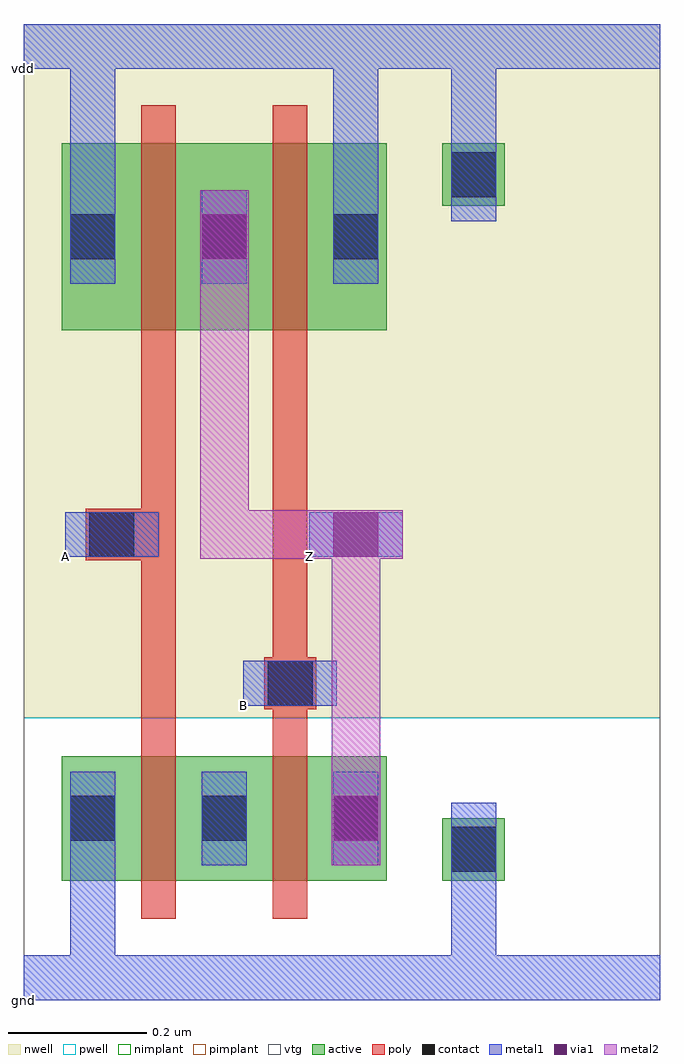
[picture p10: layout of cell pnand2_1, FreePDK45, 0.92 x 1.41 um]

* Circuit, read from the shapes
.subckt pnand2_1 A B Z gnd vdd
M1 nmos_m1_w0_18_a_p_2/D A gnd gnd nfet w=0.18u l=0.05u
M2 Z B nmos_m1_w0_18_a_p_2/D gnd nfet w=0.18u l=0.05u
M3 Z A vdd vdd pfet w=0.27u l=0.05u
M4 vdd B Z vdd pfet w=0.27u l=0.05u
.ends

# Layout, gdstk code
from math import pi, radians
import gdstk
lib = gdstk.Library(unit=1e-6, precision=5e-10)
def R(c, l, rs):  # rectangles x0, y0, x1, y1
    for r in rs: c.add(gdstk.rectangle(r[:2], r[2:], *l))
active = (1, 0)
pwell = (2, 0)
nwell = (3, 0)
nimplant = (4, 0)
pimplant = (5, 0)
vtg = (6, 0)
poly = (9, 0)
contact = (10, 0)
metal1 = (11, 0)
via1 = (12, 0)
metal2 = (13, 0)

active_contact_metal1_1x = lib.new_cell('active_contact_metal1_1x1_pn')
R(active_contact_metal1_1x, active, [(0,0.0225,0.09,0.1125), (0,0.0225,0.09,0.1125)])
R(active_contact_metal1_1x, nwell, [(-0.055,-0.0325,0.145,0.1675), (-0.055,-0.0325,0.145,0.1675)])
R(active_contact_metal1_1x, pimplant, [(0,0.0225,0.09,0.1125), (0,0.0225,0.09,0.1125)])
R(active_contact_metal1_1x, contact, [(0.0125,0.035,0.0775,0.1), (0.0125,0.035,0.0775,0.1)])
R(active_contact_metal1_1x, metal1, [(0.0125,0,0.0775,0.135), (0.0125,0,0.0775,0.135)])

pmos_m1_w0_27_a_p = lib.new_cell('pmos_m1_w0_27_a_p')
R(pmos_m1_w0_27_a_p, active, [(0,0,0.28,0.27), (0,0,0.28,0.27)])
R(pmos_m1_w0_27_a_p, nwell, [(-0.055,-0.055,0.335,0.325), (-0.055,-0.055,0.335,0.325)])
R(pmos_m1_w0_27_a_p, pimplant, [(0,0,0.28,0.27), (0,0,0.28,0.27)])
R(pmos_m1_w0_27_a_p, vtg, [(-0.055,-0.055,0.335,0.325), (-0.055,-0.055,0.335,0.325)])
R(pmos_m1_w0_27_a_p, poly, [(0.115,-0.055,0.165,0.325), (0.115,-0.055,0.165,0.325), (0.115,-0.055,0.165,0.325), (0.115,-0.055,0.165,0.325)])
R(pmos_m1_w0_27_a_p, metal1, [(0.0125,0.0675,0.0775,0.2025), (0.0125,0.0675,0.0775,0.2025), (0.2025,0.0675,0.2675,0.2025), (0.2025,0.0675,0.2675,0.2025)])
pmos_m1_w0_27_a_p.add(gdstk.Reference(active_contact_metal1_1x, (0,0.0675)))
pmos_m1_w0_27_a_p.add(gdstk.Reference(active_contact_metal1_1x, (0.19,0.0675)))
pmos_m1_w0_27_a_p.add(gdstk.Reference(active_contact_metal1_1x, (0,0.0675)))
pmos_m1_w0_27_a_p.add(gdstk.Reference(active_contact_metal1_1x, (0.19,0.0675)))
pmos_m1_w0_27_a_p.add(gdstk.Label('S', (0.0125,0.0675), layer=11, texttype=0))
pmos_m1_w0_27_a_p.add(gdstk.Label('D', (0.2025,0.0675), layer=11, texttype=0))
pmos_m1_w0_27_a_p.add(gdstk.Label('G', (0.115,-0.055), layer=9, texttype=0))
pmos_m1_w0_27_a_p.add(gdstk.Label('S', (0.0125,0.0675), layer=11, texttype=0))
pmos_m1_w0_27_a_p.add(gdstk.Label('D', (0.2025,0.0675), layer=11, texttype=0))
pmos_m1_w0_27_a_p.add(gdstk.Label('G', (0.115,-0.055), layer=9, texttype=0))

c_active_contact_metal1_1x = lib.new_cell('active_contact_metal1_1x1_np')
R(c_active_contact_metal1_1x, active, [(0,0.0225,0.09,0.1125)])
R(c_active_contact_metal1_1x, pwell, [(-0.055,-0.0325,0.145,0.1675)])
R(c_active_contact_metal1_1x, nimplant, [(0,0.0225,0.09,0.1125)])
R(c_active_contact_metal1_1x, contact, [(0.0125,0.035,0.0775,0.1)])
R(c_active_contact_metal1_1x, metal1, [(0.0125,0,0.0775,0.135)])

nmos_m1_w0_18_a_p = lib.new_cell('nmos_m1_w0_18_a_p')
R(nmos_m1_w0_18_a_p, active, [(0,0,0.28,0.18), (0,0,0.28,0.18)])
R(nmos_m1_w0_18_a_p, pwell, [(-0.055,-0.055,0.335,0.235), (-0.055,-0.055,0.335,0.235)])
R(nmos_m1_w0_18_a_p, nimplant, [(0,0,0.28,0.18), (0,0,0.28,0.18)])
R(nmos_m1_w0_18_a_p, vtg, [(-0.055,-0.055,0.335,0.235), (-0.055,-0.055,0.335,0.235)])
R(nmos_m1_w0_18_a_p, poly, [(0.115,-0.055,0.165,0.235), (0.115,-0.055,0.165,0.235), (0.115,-0.055,0.165,0.235), (0.115,-0.055,0.165,0.235)])
R(nmos_m1_w0_18_a_p, metal1, [(0.0125,0.0225,0.0775,0.1575), (0.0125,0.0225,0.0775,0.1575), (0.2025,0.0225,0.2675,0.1575), (0.2025,0.0225,0.2675,0.1575)])
nmos_m1_w0_18_a_p.add(gdstk.Reference(c_active_contact_metal1_1x, (0,0.0225)))
nmos_m1_w0_18_a_p.add(gdstk.Reference(c_active_contact_metal1_1x, (0.19,0.0225)))
nmos_m1_w0_18_a_p.add(gdstk.Reference(c_active_contact_metal1_1x, (0,0.0225)))
nmos_m1_w0_18_a_p.add(gdstk.Reference(c_active_contact_metal1_1x, (0.19,0.0225)))
nmos_m1_w0_18_a_p.add(gdstk.Label('S', (0.0125,0.0225), layer=11, texttype=0))
nmos_m1_w0_18_a_p.add(gdstk.Label('D', (0.2025,0.0225), layer=11, texttype=0))
nmos_m1_w0_18_a_p.add(gdstk.Label('G', (0.115,-0.055), layer=9, texttype=0))
nmos_m1_w0_18_a_p.add(gdstk.Label('S', (0.0125,0.0225), layer=11, texttype=0))
nmos_m1_w0_18_a_p.add(gdstk.Label('D', (0.2025,0.0225), layer=11, texttype=0))
nmos_m1_w0_18_a_p.add(gdstk.Label('G', (0.115,-0.055), layer=9, texttype=0))

c_active_contact_metal1_1x_ = lib.new_cell('active_contact_metal1_1x1_nn')
R(c_active_contact_metal1_1x_, active, [(0,0.0225,0.09,0.1125), (0,0.0225,0.09,0.1125)])
R(c_active_contact_metal1_1x_, nwell, [(-0.055,-0.0325,0.145,0.1675), (-0.055,-0.0325,0.145,0.1675)])
R(c_active_contact_metal1_1x_, nimplant, [(0,0.0225,0.09,0.1125), (0,0.0225,0.09,0.1125)])
R(c_active_contact_metal1_1x_, contact, [(0.0125,0.035,0.0775,0.1), (0.0125,0.035,0.0775,0.1)])
R(c_active_contact_metal1_1x_, metal1, [(0.0125,0,0.0775,0.135), (0.0125,0,0.0775,0.135)])

c_active_contact_metal1_1x__ = lib.new_cell('active_contact_metal1_1x1_pp')
R(c_active_contact_metal1_1x__, active, [(0,0.0225,0.09,0.1125)])
R(c_active_contact_metal1_1x__, pwell, [(-0.055,-0.0325,0.145,0.1675)])
R(c_active_contact_metal1_1x__, pimplant, [(0,0.0225,0.09,0.1125)])
R(c_active_contact_metal1_1x__, contact, [(0.0125,0.035,0.0775,0.1)])
R(c_active_contact_metal1_1x__, metal1, [(0.0125,0,0.0775,0.135)])

poly_contact_metal1_1x1 = lib.new_cell('poly_contact_metal1_1x1')
R(poly_contact_metal1_1x1, poly, [(0,0.03,0.075,0.105), (0,0.03,0.075,0.105)])
R(poly_contact_metal1_1x1, contact, [(0.005,0.035,0.07,0.1), (0.005,0.035,0.07,0.1)])
R(poly_contact_metal1_1x1, metal1, [(0.005,0,0.07,0.135), (0.005,0,0.07,0.135)])

metal1_via1_metal2_1x1 = lib.new_cell('metal1_via1_metal2_1x1')
R(metal1_via1_metal2_1x1, metal1, [(0.0025,0,0.0675,0.135), (0.0025,0,0.0675,0.135)])
R(metal1_via1_metal2_1x1, via1, [(0.0025,0.035,0.0675,0.1), (0.0025,0.035,0.0675,0.1)])
R(metal1_via1_metal2_1x1, metal2, [(0,0,0.07,0.135), (0,0,0.07,0.135)])

pnand2_1 = lib.new_cell('pnand2_1')
R(pnand2_1, pwell, [(0,-0.0325,0.92,0.375)])
R(pnand2_1, nwell, [(0,0.375,0.92,1.3775)])
R(pnand2_1, vtg, [(0,-0.0325,0.92,0.375), (0,0.375,0.92,1.3775)])
R(pnand2_1, poly, [(0.17,0.085,0.22,0.88), (0.36,0.085,0.41,0.88), (0.36,0.3875,0.385,0.4625), (0.1275,0.6025,0.17,0.6775)])
R(pnand2_1, metal1, [(0,-0.0325,0.92,0.0325), (0.0675,-0.0325,0.1325,0.1625), (0.6175,0,0.6825,0.185), (0.3175,0.3925,0.4525,0.4575), (0.06,0.6075,0.195,0.6725), (0.4125,0.6075,0.5475,0.6725), (0.0675,1.0025,0.1325,1.3775), (0.4475,1.0025,0.5125,1.3775), (0.6175,1.16,0.6825,1.345), (0,1.3125,0.92,1.3775)])
R(pnand2_1, metal2, [(0.445,0.2975,0.515,0.64), (0.255,0.605,0.325,0.675), (0.29,0.605,0.48,0.675), (0.445,0.605,0.515,0.675), (0.255,0.64,0.325,1.0025)])
pnand2_1.add(gdstk.Reference(pmos_m1_w0_27_a_p, (0.055,0.935)))
pnand2_1.add(gdstk.Reference(pmos_m1_w0_27_a_p, (0.245,0.935)))
pnand2_1.add(gdstk.Reference(nmos_m1_w0_18_a_p, (0.055,0.14)))
pnand2_1.add(gdstk.Reference(nmos_m1_w0_18_a_p, (0.245,0.14)))
pnand2_1.add(gdstk.Reference(c_active_contact_metal1_1x_, (0.605,1.0925)))
pnand2_1.add(gdstk.Reference(c_active_contact_metal1_1x__, (0.605,0.1175)))
pnand2_1.add(gdstk.Reference(poly_contact_metal1_1x1, (0.4525,0.3875), rotation=pi/2))
pnand2_1.add(gdstk.Reference(poly_contact_metal1_1x1, (0.195,0.6025), rotation=pi/2))
pnand2_1.add(gdstk.Reference(metal1_via1_metal2_1x1, (0.255,1.0025)))
pnand2_1.add(gdstk.Reference(metal1_via1_metal2_1x1, (0.445,0.1625)))
pnand2_1.add(gdstk.Reference(metal1_via1_metal2_1x1, (0.5475,0.605), rotation=pi/2))
pnand2_1.add(gdstk.Label('A', (0.06,0.6075), layer=11, texttype=0))
pnand2_1.add(gdstk.Label('Z', (0.4125,0.6075), layer=11, texttype=0))
pnand2_1.add(gdstk.Label('B', (0.3175,0.3925), layer=11, texttype=0))
pnand2_1.add(gdstk.Label('vdd', (0,1.3125), layer=11, texttype=0))
pnand2_1.add(gdstk.Label('gnd', (0,-0.0325), layer=11, texttype=0))

lib.write_gds('pnand2_1.gds')
